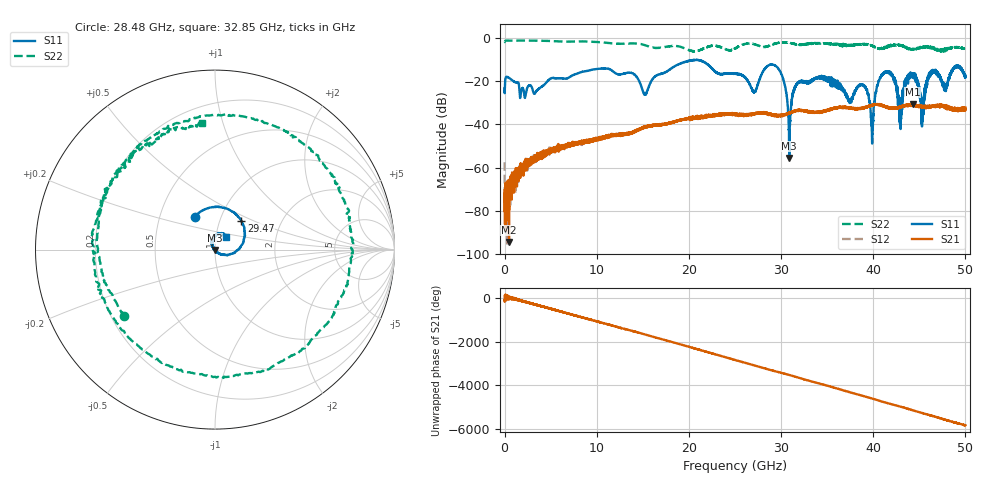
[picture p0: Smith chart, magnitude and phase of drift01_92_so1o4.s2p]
!Created with skrf (http://scikit-rf.org).
# Hz S RI R 50.0
!freq ReS11 ImS11 ReS21 ImS21 ReS12 ImS12 ReS22 ImS22
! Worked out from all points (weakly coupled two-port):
!   10001 points, 300 kHz to 50 GHz, reference 50 ohm
!   highest |S21| = -30.61 dB at 44.31 GHz (marker M1); lowest = -94.3 dB at 475.3 MHz (marker M2)
!   lowest |S11| = -55.5 dB at 30.89 GHz (marker M3), VSWR 1.00, Z = 49.9 - j0.131 ohm
!   |S11| at or under -10 dB: start of sweep to end of sweep
!   |S22| runs from -6.6 to -1.4 dB; largest |S21 - S12| = 0.0038
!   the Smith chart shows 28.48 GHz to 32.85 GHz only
!   S11 on the Smith chart (normalised r, x): 28.48 GHz: 0.75, +0.29; 29.47 GHz: 1.26, +0.43; 32.85 GHz: 1.13, +0.15
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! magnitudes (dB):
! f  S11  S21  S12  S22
! 300 kHz  -23.4  -70.4  -57.5  -2.1
! 475.3 MHz  -18.6  -94.3  -69.4  -1.5
! 8.335 GHz  -16.0  -47.7  -48.5  -1.8
! 15.23 GHz  -26.4  -41.6  -41.4  -3.6
! 16.67 GHz  -17.1  -40.2  -40.4  -4.8
! 25 GHz  -16.7  -34.9  -35.3  -5.1
! 27.1 GHz  -25.2  -35.3  -35.3  -3.1
! 28.48 GHz  -13.3  -35.2  -35.0  -4.1
! 29.47 GHz  -13.3  -36.1  -36.0  -2.7
! 30.89 GHz  -55.5  -34.8  -34.7  -2.5
! 31.61 GHz  -22.1  -33.7  -33.7  -3.0
! 32.85 GHz  -20.6  -34.2  -34.1  -3.0
! 33.34 GHz  -19.7  -34.3  -34.4  -2.6
! 38.91 GHz  -22.1  -32.5  -32.3  -3.0
! 39.88 GHz  -46.9  -31.3  -31.2  -3.8
! 40.61 GHz  -19.9  -30.7  -30.8  -5.1
! 41.67 GHz  -16.1  -32.3  -32.3  -4.2
! 42.92 GHz  -33.8  -32.1  -32.1  -3.6
! 44.31 GHz  -17.1  -30.6  -31.3  -5.5
! 45.31 GHz  -35.9  -31.7  -31.7  -4.4
! 46.43 GHz  -15.5  -31.8  -31.8  -4.5
! 50 GHz  -17.5  -32.3  -32.8  -5.4
